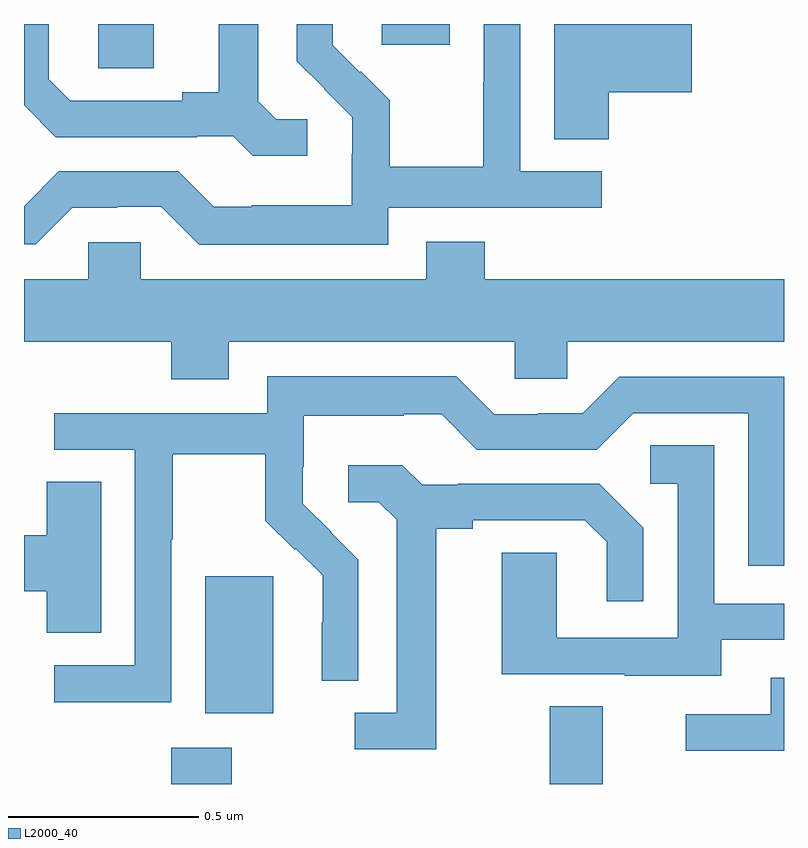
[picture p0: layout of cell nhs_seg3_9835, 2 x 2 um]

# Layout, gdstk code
import gdstk
lib = gdstk.Library(unit=1e-6, precision=1e-09)
def R(c, l, rs):  # rectangles x0, y0, x1, y1
    for r in rs: c.add(gdstk.rectangle(r[:2], r[2:], *l))
def P(c, l, *ps):  # polygons
    for p in ps: c.add(gdstk.Polygon(p, *l))
L2000_40 = (2000, 40)

nhs_seg3_9835 = lib.new_cell('nhs_seg3_9835')
R(nhs_seg3_9835, L2000_40, [(233.387,718.4,233.547,718.495), (234.383,718.4,234.523,718.604), (233.477,718.586,233.656,718.947), (233.196,720.283,233.341,720.4), (233.942,720.345,234.121,720.4)])
P(nhs_seg3_9835, L2000_40, [(233.958,719.916),(234.52,719.916),(234.52,720.012),(234.306,720.012),(234.306,720.4),(234.21,720.4),(234.21,720.248),(234.208,720.248),(234.208,720.025),(233.963,720.025),(233.963,720.199),(233.886,720.276),(233.883,720.273),(233.813,720.344),(233.813,720.4),(233.718,720.4),(233.718,720.302),(233.791,720.229),(233.79,720.228),(233.864,720.154),(233.864,720.057),(233.862,720.057),(233.862,719.923),(233.599,719.923),(233.599,719.919),(233.499,719.919),(233.406,720.012),(233.091,720.012),(233,719.921),(233,719.82),(233.031,719.82),(233.127,719.916),(233.246,719.916),(233.246,719.919),(233.361,719.919),(233.461,719.819),(233.958,719.819)],
  [(234.539,720.221),(234.757,720.221),(234.757,720.4),(234.395,720.4),(234.395,720.097),(234.539,720.097)],
  [(233.746,720.15),(233.664,720.15),(233.617,720.197),(233.617,720.4),(233.513,720.4),(233.513,720.221),(233.417,720.221),(233.417,720.198),(233.122,720.198),(233.065,720.255),(233.065,720.4),(233,720.4),(233,720.186),(233.084,720.102),(233.456,720.102),(233.456,720.105),(233.55,720.105),(233.602,720.053),(233.746,720.053)],
  [(233.539,719.564),(234.291,719.564),(234.291,719.466),(234.429,719.466),(234.429,719.564),(235,719.564),(235,719.728),(234.212,719.728),(234.212,719.827),(234.059,719.827),(234.059,719.728),(233.307,719.728),(233.307,719.826),(233.169,719.826),(233.169,719.728),(233,719.728),(233,719.564),(233.387,719.564),(233.387,719.465),(233.539,719.465)],
  [(233.388,719.044),(233.391,719.044),(233.391,719.268),(233.635,719.268),(233.635,719.093),(233.712,719.016),(233.715,719.019),(233.786,718.949),(233.786,718.826),(233.784,718.826),(233.784,718.672),(233.88,718.672),(233.88,718.99),(233.807,719.063),(233.808,719.064),(233.734,719.138),(233.734,719.235),(233.736,719.235),(233.736,719.369),(233.999,719.369),(233.999,719.373),(234.099,719.373),(234.192,719.28),(234.507,719.28),(234.603,719.376),(234.906,719.376),(234.906,718.974),(235,718.974),(235,719.472),(234.567,719.472),(234.471,719.376),(234.353,719.376),(234.353,719.373),(234.237,719.373),(234.137,719.473),(233.64,719.473),(233.64,719.376),(233.079,719.376),(233.079,719.28),(233.292,719.28),(233.292,718.713),(233.079,718.713),(233.079,718.615),(233.388,718.615)],
  [(234.835,718.779),(235,718.779),(235,718.875),(234.816,718.875),(234.816,719.291),(234.648,719.291),(234.648,719.19),(234.72,719.19),(234.72,718.785),(234.402,718.785),(234.402,719.009),(234.257,719.009),(234.257,718.689),(234.581,718.689),(234.581,718.685),(234.835,718.685)],
  [(234.085,719.072),(234.181,719.072),(234.181,719.094),(234.476,719.094),(234.533,719.037),(234.533,718.881),(234.63,718.881),(234.63,719.074),(234.514,719.19),(234.142,719.19),(234.142,719.187),(234.048,719.187),(233.996,719.239),(233.853,719.239),(233.853,719.142),(233.934,719.142),(233.981,719.095),(233.981,718.587),(233.871,718.587),(233.871,718.491),(234.085,718.491)],
  [(233.203,719.195),(233.06,719.195),(233.06,719.054),(233,719.054),(233,718.907),(233.06,718.907),(233.06,718.798),(233.203,718.798)],
  [(235,718.68),(234.965,718.68),(234.965,718.584),(234.741,718.584),(234.741,718.488),(235,718.488)])

lib.write_gds('nhs_seg3_9835.gds')
